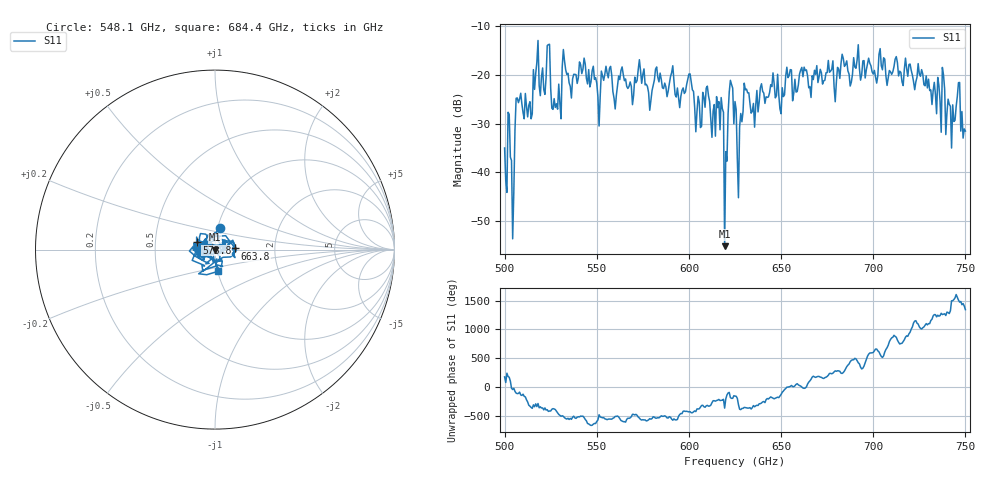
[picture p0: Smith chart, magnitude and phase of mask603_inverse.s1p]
!Created with skrf (http://scikit-rf.org).
# GHz S MA R 50.0
!freq magS11 angS11
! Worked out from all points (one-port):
!   401 points, 500 GHz to 750 GHz, reference 50 ohm
!   lowest |S11| = -55.2 dB at 619.4 GHz (marker M1), VSWR 1.00, Z = 50.2 - j0.0142 ohm
!   |S11| at or under -10 dB: start of sweep to end of sweep
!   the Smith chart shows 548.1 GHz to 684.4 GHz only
!   S11 on the Smith chart (normalised r, x): 548.1 GHz: 1.03, +0.25; 573.8 GHz: 0.81, +0.07; 663.8 GHz: 1.25, +0.02; 684.4 GHz: 1.01, -0.25
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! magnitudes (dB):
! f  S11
! 500 GHz  -35.0
! 502.5 GHz  -28.1
! 504.4 GHz  -53.7
! 507.5 GHz  -25.7
! 513.8 GHz  -25.5
! 516.9 GHz  -19.7
! 523.8 GHz  -13.8
! 526.9 GHz  -24.9
! 531.2 GHz  -18.4
! 548.1 GHz  -18.2
! 562.5 GHz  -21.0
! 573.8 GHz  -19.2
! 593.8 GHz  -22.7
! 616.2 GHz  -25.5
! 619.4 GHz  -55.2
! 622.5 GHz  -21.1
! 625 GHz  -25.5
! 627.5 GHz  -30.7
! 631.2 GHz  -22.9
! 635 GHz  -25.9
! 656.2 GHz  -25.3
! 663.8 GHz  -19.0
! 684.4 GHz  -18.3
! 687.5 GHz  -22.3
! 718.8 GHz  -20.3
! 743.1 GHz  -26.2
! 745.6 GHz  -24.4
! 750 GHz  -31.5
